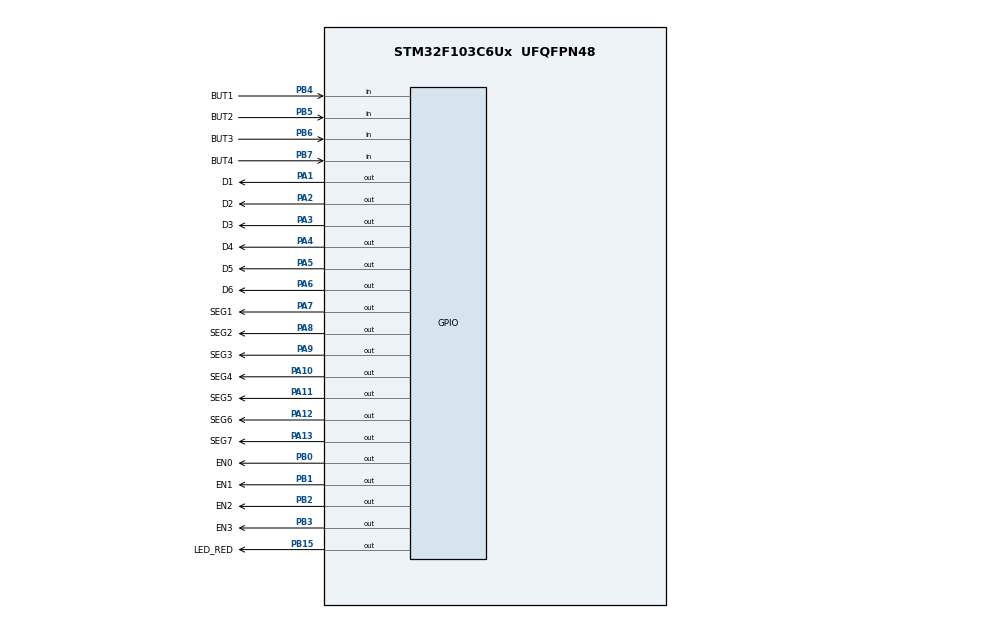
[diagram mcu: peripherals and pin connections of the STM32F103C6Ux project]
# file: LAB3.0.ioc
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Mcu.Family=STM32F1
Mcu.Name=STM32F103C6Ux
Mcu.Package=UFQFPN48
NVIC.PriorityGroup=NVIC_PRIORITYGROUP_4
NVIC.TIM2_IRQn=true\:0\:0\:false\:false\:true\:true\:true\:true
PA1.GPIO_Label=D1
PA1.Signal=GPIO_Output
PA10.GPIO_Label=SEG4
PA10.Signal=GPIO_Output
PA11.GPIO_Label=SEG5
PA11.Signal=GPIO_Output
PA12.GPIO_Label=SEG6
PA12.Signal=GPIO_Output
PA13.GPIO_Label=SEG7
PA13.Signal=GPIO_Output
PA2.GPIO_Label=D2
PA2.Signal=GPIO_Output
PA3.GPIO_Label=D3
PA3.Signal=GPIO_Output
PA4.GPIO_Label=D4
PA4.Signal=GPIO_Output
PA5.GPIO_Label=D5
PA5.Signal=GPIO_Output
PA6.GPIO_Label=D6
PA6.Signal=GPIO_Output
PA7.GPIO_Label=SEG1
PA7.Signal=GPIO_Output
PA8.GPIO_Label=SEG2
PA8.Signal=GPIO_Output
PA9.GPIO_Label=SEG3
PA9.Signal=GPIO_Output
PB0.GPIO_Label=EN0
PB0.Signal=GPIO_Output
PB1.GPIO_Label=EN1
PB1.Signal=GPIO_Output
PB15.GPIO_Label=LED_RED
PB15.Signal=GPIO_Output
PB2.GPIO_Label=EN2
PB2.Signal=GPIO_Output
PB3.GPIO_Label=EN3
PB3.Signal=GPIO_Output
PB4.GPIO_Label=BUT1
PB4.GPIO_PuPd=GPIO_PULLUP
PB4.Signal=GPIO_Input
PB5.GPIO_Label=BUT2
PB5.GPIO_PuPd=GPIO_PULLUP
PB5.Signal=GPIO_Input
PB6.GPIO_Label=BUT3
PB6.GPIO_PuPd=GPIO_PULLUP
PB6.Signal=GPIO_Input
PB7.GPIO_Label=BUT4
PB7.GPIO_PuPd=GPIO_PULLUP
PB7.Signal=GPIO_Input
ProjectManager.HeapSize=0x200
ProjectManager.StackSize=0x400
ProjectManager.TargetToolchain=STM32CubeIDE
RCC.APB1Freq_Value=8000000
RCC.APB2Freq_Value=8000000
TIM2.Period=9
TIM2.Prescaler=7999
VP_SYS_VS_ND.Mode=No_Debug
VP_TIM2_VS_ClockSourceINT.Mode=Internal
board=custom

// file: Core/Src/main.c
/* USER CODE BEGIN Header */
/**
  ******************************************************************************
  * @file           : main.c
  * @brief          : Main program body
  ******************************************************************************
  * @attention
  *
  * <h2><center>&copy; Copyright (c) 2024 STMicroelectronics.
  * All rights reserved.</center></h2>
  *
  * This software component is licensed by ST under BSD 3-Clause license,
  * the "License"; You may not use this file except in compliance with the
  * License. You may obtain a copy of the License at:
  *                        opensource.org/licenses/BSD-3-Clause
  *
  ******************************************************************************
  */
/* USER CODE END Header */
#include "main.h"

/* USER CODE BEGIN Includes */
#include "software_timer.h"
#include "button.h"
#include "light.h"
#include "global.h"
#include "fsm_automatic.h"
#include "fsm_manual.h"
#include "fsm_setting.h"
#include "schedular.h"
/* USER CODE END Includes */

TIM_HandleTypeDef htim2;

void SystemClock_Config(void);
static void MX_GPIO_Init(void);
static void MX_TIM2_Init(void);

int main(void)
{

  /* MCU Configuration--------------------------------------------------------*/

  /* Reset of all peripherals, Initializes the Flash interface and the Systick. */
  HAL_Init();

  /* Configure the system clock */
  SystemClock_Config();

  /* Initialize all configured peripherals */
  MX_GPIO_Init();
  MX_TIM2_Init();
  /* USER CODE BEGIN 2 */
  HAL_TIM_Base_Start_IT(&htim2);
  SCH_Add_Task(getKeyInput, 	100, 1);
  SCH_Add_Task(autoUpdate7Seg, 	100, 5);
  SCH_Add_Task(fsm_automatic_run, 	100, 1);
  SCH_Add_Task(fsm_manual_run, 		100, 1);
  SCH_Add_Task(fsm_setting_run, 	100, 1);

  /* USER CODE END 2 */

  /* Infinite loop */
  while (1)
  {

    /* USER CODE BEGIN 3 */
	  SCH_Dispatch_Task();
  }
  /* USER CODE END 3 */
}

void SystemClock_Config(void)
{
  RCC_OscInitTypeDef RCC_OscInitStruct = {0};
  RCC_ClkInitTypeDef RCC_ClkInitStruct = {0};

  /** Initializes the RCC Oscillators according to the specified parameters
  * in the RCC_OscInitTypeDef structure.
  */
  RCC_OscInitStruct.OscillatorType = RCC_OSCILLATORTYPE_HSI;
  RCC_OscInitStruct.HSIState = RCC_HSI_ON;
  RCC_OscInitStruct.HSICalibrationValue = RCC_HSICALIBRATION_DEFAULT;
  RCC_OscInitStruct.PLL.PLLState = RCC_PLL_NONE;
  if (HAL_RCC_OscConfig(&RCC_OscInitStruct) != HAL_OK)
  {
    Error_Handler();
  }

  /** Initializes the CPU, AHB and APB buses clocks
  */
  RCC_ClkInitStruct.ClockType = RCC_CLOCKTYPE_HCLK|RCC_CLOCKTYPE_SYSCLK
                              |RCC_CLOCKTYPE_PCLK1|RCC_CLOCKTYPE_PCLK2;
  RCC_ClkInitStruct.SYSCLKSource = RCC_SYSCLKSOURCE_HSI;
  RCC_ClkInitStruct.AHBCLKDivider = RCC_SYSCLK_DIV1;
  RCC_ClkInitStruct.APB1CLKDivider = RCC_HCLK_DIV1;
  RCC_ClkInitStruct.APB2CLKDivider = RCC_HCLK_DIV1;

  if (HAL_RCC_ClockConfig(&RCC_ClkInitStruct, FLASH_LATENCY_0) != HAL_OK)
  {
    Error_Handler();
  }
}

static void MX_TIM2_Init(void)
{

  TIM_ClockConfigTypeDef sClockSourceConfig = {0};
  TIM_MasterConfigTypeDef sMasterConfig = {0};

  htim2.Instance = TIM2;
  htim2.Init.Prescaler = 7999;
  htim2.Init.CounterMode = TIM_COUNTERMODE_UP;
  htim2.Init.Period = 9;
  htim2.Init.ClockDivision = TIM_CLOCKDIVISION_DIV1;
  htim2.Init.AutoReloadPreload = TIM_AUTORELOAD_PRELOAD_DISABLE;
  if (HAL_TIM_Base_Init(&htim2) != HAL_OK)
  {
    Error_Handler();
  }
  sClockSourceConfig.ClockSource = TIM_CLOCKSOURCE_INTERNAL;
  if (HAL_TIM_ConfigClockSource(&htim2, &sClockSourceConfig) != HAL_OK)
  {
    Error_Handler();
  }
  sMasterConfig.MasterOutputTrigger = TIM_TRGO_RESET;
  sMasterConfig.MasterSlaveMode = TIM_MASTERSLAVEMODE_DISABLE;
  if (HAL_TIMEx_MasterConfigSynchronization(&htim2, &sMasterConfig) != HAL_OK)
  {
    Error_Handler();
  }

}

static void MX_GPIO_Init(void)
{
  GPIO_InitTypeDef GPIO_InitStruct = {0};

  /* GPIO Ports Clock Enable */
  __HAL_RCC_GPIOA_CLK_ENABLE();
  __HAL_RCC_GPIOB_CLK_ENABLE();

  /*Configure GPIO pin Output Level */
  HAL_GPIO_WritePin(GPIOA, D1_Pin|D2_Pin|D3_Pin|D4_Pin
                          |D5_Pin|D6_Pin|SEG1_Pin|SEG2_Pin
                          |SEG3_Pin|SEG4_Pin|SEG5_Pin|SEG6_Pin
                          |SEG7_Pin, GPIO_PIN_RESET);

  /*Configure GPIO pin Output Level */
  HAL_GPIO_WritePin(GPIOB, EN0_Pin|EN1_Pin|EN2_Pin|LED_RED_Pin
                          |EN3_Pin, GPIO_PIN_RESET);

  /*Configure GPIO pins : D1_Pin D2_Pin D3_Pin D4_Pin
                           D5_Pin D6_Pin SEG1_Pin SEG2_Pin
                           SEG3_Pin SEG4_Pin SEG5_Pin SEG6_Pin
                           SEG7_Pin */
  GPIO_InitStruct.Pin = D1_Pin|D2_Pin|D3_Pin|D4_Pin
                          |D5_Pin|D6_Pin|SEG1_Pin|SEG2_Pin
                          |SEG3_Pin|SEG4_Pin|SEG5_Pin|SEG6_Pin
                          |SEG7_Pin;
  GPIO_InitStruct.Mode = GPIO_MODE_OUTPUT_PP;
  GPIO_InitStruct.Pull = GPIO_NOPULL;
  GPIO_InitStruct.Speed = GPIO_SPEED_FREQ_LOW;
  HAL_GPIO_Init(GPIOA, &GPIO_InitStruct);

  /*Configure GPIO pins : EN0_Pin EN1_Pin EN2_Pin LED_RED_Pin
                           EN3_Pin */
  GPIO_InitStruct.Pin = EN0_Pin|EN1_Pin|EN2_Pin|LED_RED_Pin
                          |EN3_Pin;
  GPIO_InitStruct.Mode = GPIO_MODE_OUTPUT_PP;
  GPIO_InitStruct.Pull = GPIO_NOPULL;
  GPIO_InitStruct.Speed = GPIO_SPEED_FREQ_LOW;
  HAL_GPIO_Init(GPIOB, &GPIO_InitStruct);

  /*Configure GPIO pins : BUT1_Pin BUT2_Pin BUT3_Pin BUT4_Pin */
  GPIO_InitStruct.Pin = BUT1_Pin|BUT2_Pin|BUT3_Pin|BUT4_Pin;
  GPIO_InitStruct.Mode = GPIO_MODE_INPUT;
  GPIO_InitStruct.Pull = GPIO_PULLUP;
  HAL_GPIO_Init(GPIOB, &GPIO_InitStruct);

}

/* USER CODE BEGIN 4 */

void HAL_TIM_PeriodElapsedCallback(TIM_HandleTypeDef *htim) {
		SCH_Update();
		timerRun();
	}
/* USER CODE END 4 */

void Error_Handler(void)
{
  __disable_irq();
  while (1)
  {
  }
}
